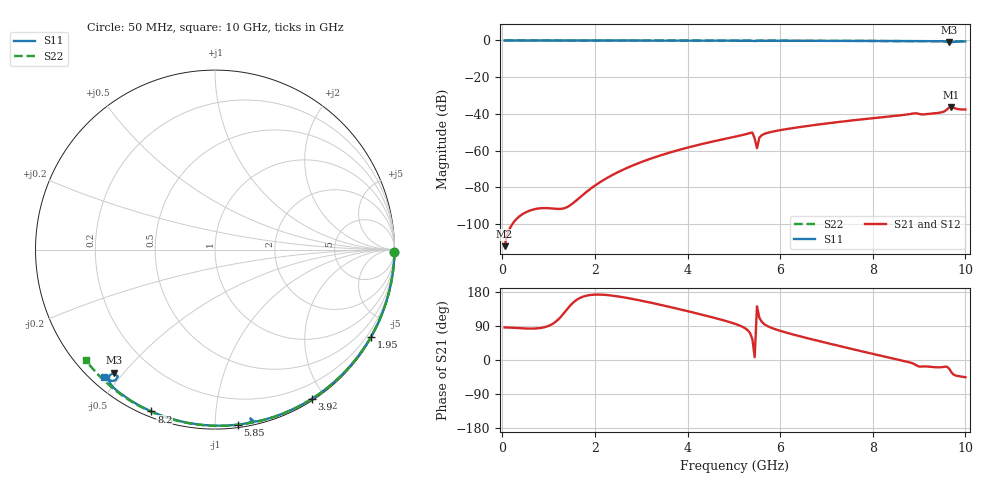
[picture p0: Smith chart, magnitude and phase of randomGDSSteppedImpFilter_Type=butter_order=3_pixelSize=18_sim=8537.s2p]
! freq	dB(S11)	phase(S11)	dB(S12)	phase(S12)
!  dB(S21)	phase(S21)	dB(S22)	phase(S22)
!S-par simulation data
#  GHz  S  DB  R 50
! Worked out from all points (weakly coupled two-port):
!   200 points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, 50 MHz to 10 GHz, reference 50 ohm
!   highest |S21| = -36.22 dB at 9.7 GHz (marker M1); lowest = -112.1 dB at 50 MHz (marker M2)
!   lowest |S11| = -1.0 dB at 9.65 GHz (marker M3), VSWR 16.71, Z = 3.66 - j23.5 ohm
!   |S11| at or under -10 dB: nowhere
!   |S22| runs from -0.5 to 0.0 dB; largest |S21 - S12| = 0
!   S11 on the Smith chart (normalised r, x): 50 MHz: open; 1.95 GHz: 0.03, -3.83; 3.9 GHz: 0.02, -1.84; 5.85 GHz: 0.02, -1.14; 8.2 GHz: 0.02, -0.68; 10 GHz: 0.04, -0.46
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0.05  -0.00 -0.8  -112.13 85.9  -112.13 85.9  -0.00 -0.8
1.75  -0.03 -26.3  -83.94 167.4  -83.94 167.4  -0.04 -27.9
1.95  -0.04 -29.2  -80.01 172.1  -80.01 172.1  -0.04 -31.0
2.55  -0.05 -38.0  -71.13 166.8  -71.13 166.8  -0.05 -40.2
3.4  -0.07 -50.1  -62.78 146.0  -62.78 146.0  -0.07 -53.0
3.9  -0.08 -57.0  -59.07 131.9  -59.07 131.9  -0.08 -60.3
5.05  -0.11 -72.6  -52.32 94.5  -52.32 94.5  -0.12 -76.6
5.4  -0.18 -77.8  -50.22 55.3  -50.22 55.3  -0.13 -81.4
5.45  -0.34 -78.2  -53.44 7.3  -53.44 7.3  -0.14 -82.1
5.5  -0.25 -77.6  -58.70 141.7  -58.70 141.7  -0.14 -82.7
5.55  -0.17 -78.4  -53.06 111.8  -53.06 111.8  -0.14 -83.4
5.6  -0.15 -79.2  -51.71 101.4  -51.71 101.4  -0.14 -84.1
5.85  -0.14 -82.6  -49.62 83.1  -49.62 83.1  -0.15 -87.4
6.7  -0.18 -93.4  -46.23 54.1  -46.23 54.1  -0.19 -98.6
8.2  -0.28 -111.4  -41.85 10.5  -41.85 10.5  -0.29 -117.5
8.35  -0.29 -113.2  -41.47 6.4  -41.47 6.4  -0.30 -119.3
8.9  -0.34 -119.8  -39.72 -11.0  -39.72 -11.0  -0.35 -126.1
9.45  -0.43 -127.1  -39.34 -19.3  -39.34 -19.3  -0.41 -132.7
9.55  -0.56 -129.1  -38.60 -17.8  -38.60 -17.8  -0.42 -133.9
9.65  -1.04 -129.4  -36.46 -22.8  -36.46 -22.8  -0.43 -135.1
9.7  -1.02 -127.5  -36.22 -33.0  -36.22 -33.0  -0.44 -135.7
10  -0.52 -130.9  -37.64 -45.5  -37.64 -45.5  -0.47 -139.4
